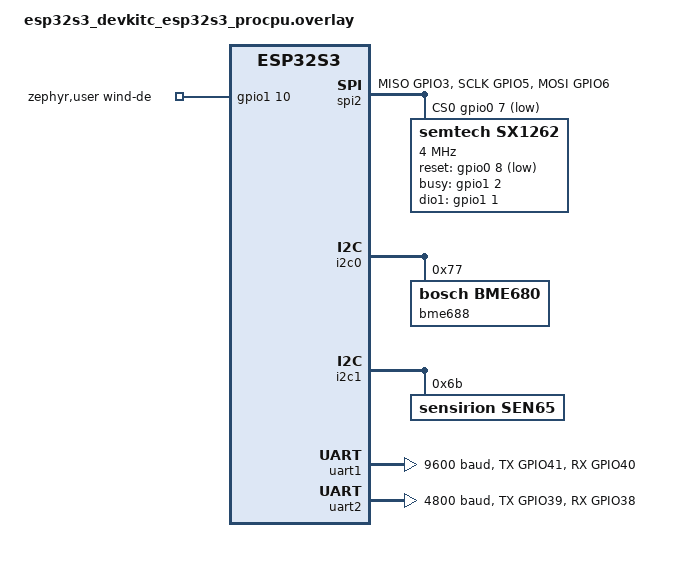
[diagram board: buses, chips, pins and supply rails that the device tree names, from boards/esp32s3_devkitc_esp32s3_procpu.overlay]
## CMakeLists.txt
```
cmake_minimum_required(VERSION 3.20.0)

find_package(Zephyr REQUIRED HINTS $ENV{ZEPHYR_BASE})

project(t3s3_lora VERSION 1.0.0 LANGUAGES C)

target_include_directories(app PRIVATE include)

# Seccion iterable en ROM para los recursos del servicio HTTP del portal
# (necesaria para los simbolos _http_resource_desc_portal_http_service_list_*).
zephyr_linker_sources(SECTIONS sections-rom.ld)

target_sources(app PRIVATE
    src/main.c
    src/wallclock.c
    src/nodewdt.c
    src/sensors/bm688.c
    src/sensors/ze15_co.c
    src/sensors/sen6x.c
    src/portal/portal.c
    src/portal/portal_html.c
    src/portal/captive_dns.c
    src/portal/http_routes.c
)

# ---------------------------------------------------------------------------
# Coexistencia LoRaWAN + WiFi: el soft-SE de loramac-node y el supplicant WPA
# interno del WiFi del ESP32 definen ambos los simbolos globales aes_encrypt y
# aes_decrypt (con firmas distintas) -> "multiple definition" al enlazar.
# Los de loramac son internos a esa libreria, asi que los renombramos SOLO en
# la libreria loramac-node (definicion + llamadas, todas en sus TUs). El
# supplicant conserva los suyos. Cero coste de tamano (a diferencia de activar
# el crypto mbedTLS, que ademas arrastraria EC/PK que no usa un AP WPA2-PSK).
#
# El target loramac-node lo crea Zephyr al procesar su arbol, DESPUES de este
# CMakeLists, por eso se difiere la llamada al final del directorio raiz.
# ---------------------------------------------------------------------------
cmake_language(DEFER DIRECTORY ${CMAKE_SOURCE_DIR} CALL
    target_compile_definitions loramac-node PRIVATE
    aes_encrypt=loramac_aes_encrypt
    aes_decrypt=loramac_aes_decrypt)
```

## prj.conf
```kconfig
# =========================
# PSRAM
# =========================
CONFIG_ESP_SPIRAM=y
CONFIG_SPIRAM_MODE_QUAD=y
CONFIG_SPIRAM_SPEED_40M=y
CONFIG_ESP_SPIRAM_MEMTEST=n
CONFIG_ESP_SPIRAM_HEAP_SIZE=65536

# =========================
# PRINTK via ROM UART (no inicializar driver UART de Zephyr)
# =========================
CONFIG_PRINTK=y
CONFIG_UART_CONSOLE=n
CONFIG_CONSOLE=n

# =========================
# LOG minimal: redirige LOG_* a printk() sin necesitar UART console
# =========================
CONFIG_LOG=y
CONFIG_LOG_MODE_MINIMAL=y

# =========================
# GPIO + SPI
# =========================
CONFIG_GPIO=y
CONFIG_SPI=y

# HWINFO: para derivar la DevEUI de la MAC del chip (hwinfo_get_device_id()).
CONFIG_HWINFO=y

# =========================
# UART (driver serial) para el ZE15-CO en UART1.
# La consola/printk NO depende de este driver (va por ROM UART/USB), pero
# CONFIG_UART_CONSOLE/CONSOLE siguen en n para no reasignar uart0.
# Se usa la API de polling (uart_poll_in/out), sin interrupciones.
# =========================
CONFIG_SERIAL=y

# =========================
# LORA + LORAWAN EU868
# =========================
CONFIG_LORA=y
CONFIG_LORA_SX126X=y
CONFIG_LORAWAN=y
CONFIG_LORAWAN_REGION_EU868=y

# =========================
# LORAWAN NVM: persiste el contexto MAC (DevNonce, claves de sesion) en flash.
# Sin esto el DevNonce se reinicia a 0 en cada arranque y el network server
# (anti-replay) descarta los Join-Request ya vistos -> "Rx 2 timeout" / -116.
# lorawan_start() llama internamente a settings_subsys_init() y restaura el
# contexto; usa la storage_partition por defecto del board (no requiere
# cambios en el flash layout).
# =========================
CONFIG_FLASH=y
CONFIG_FLASH_MAP=y
CONFIG_NVS=y
CONFIG_SETTINGS=y
CONFIG_LORAWAN_NVM_SETTINGS=y

# =========================
# STACK (LoRaWAN necesita mas que el default)
# =========================
CONFIG_MAIN_STACK_SIZE=4096
CONFIG_SYSTEM_WORKQUEUE_STACK_SIZE=4096

# =========================
# I2C + BM688 (sensor ambiental)
# CONFIG_I2C es auto-seleccionado por CONFIG_BME680 cuando el
# dispositivo esta en bus I2C, pero se declara explicitamente
# para claridad y compatibilidad.
# =========================
CONFIG_I2C=y
CONFIG_SENSOR=y
CONFIG_BME680=y

# =========================
# PORTAL CAUTIVO: WiFi SoftAP del ESP32-S3
# Modo AP-only: no necesitamos STA (LoRa no es WiFi), asi evitamos la
# coexistencia STA/AP (que exigiria una 2a instancia del nodo wifi en el
# devicetree -> NET_DEVICE_DT_INST_DEFINE(1)) y queda mas ligero.
# El heap de WiFi/NET se ubica en PSRAM para no asfixiar la SRAM interna.
# =========================
CONFIG_WIFI=y
CONFIG_WIFI_USAGE_MODE_AP=y
CONFIG_ESP32_WIFI_NET_ALLOC_SPIRAM=y

# NOTA (diagnostico, no toques nada por esto): el driver WiFi de Espressif
# reserva CADA trama a transmitir con k_malloc -- del heap del KERNEL, no de la
# PSRAM, pese a ESP32_WIFI_NET_ALLOC_SPIRAM (ver esp_heap_adapter.h, aqui manda
# CONFIG_ESP_WIFI_HEAP_SYSTEM). Si algun dia ves una rafaga de
#   E: memory allocation failed        (esp32s3/src/wifi/esp_wifi_adapter.c)
#   E: Failed to send packet           (drivers/wifi/esp32/src/esp_wifi_drv.c)
# es el WiFi sin heap, no LoRa: los uplinks siguen saliendo con SEND OK.
# Ocurrio una vez con los sensores I2C DESOLDADOS y se fue al volver a
# soldarlos, sin tocar el firmware. La sospecha es que el sistema es UNICORE
# ("W: Unicore bootloader") y los timeouts de I2C contra sensores ausentes
# estrangulaban al hilo del WiFi, que dejaba de drenar sus hasta 32 buffers TX
# dinamicos (CONFIG_ESP32_WIFI_DYNAMIC_TX_BUFFER_NUM) hasta agotar el heap.
# Subir CONFIG_HEAP_MEM_POOL_SIZE tapa el sintoma a costa de mucha DRAM; si
# vuelve a pasar CON los sensores sanos, esa es la palanca.
# NOTA crypto: se usa el crypto INTERNO del supplicant WPA (no mbedTLS). El
# AES interno del supplicant exporta aes_encrypt/aes_decrypt, igual que el
# soft-SE de loramac-node -> doble definicion al enlazar. En vez de arrastrar
# todo mbedTLS (EC/PK innecesarios para un AP WPA2-PSK), se renombran los dos
# simbolos AES de loramac (internos a esa lib) via CMakeLists. Ver CMakeLists.txt.

# =========================
# PORTAL CAUTIVO: stack de red + servidor DHCPv4
# NET_CONFIG_AUTO_INIT=n -> la IP del AP la fija portal.c manualmente.
# =========================
CONFIG_NETWORKING=y
CONFIG_NET_IPV4=y
# IPv6 DESACTIVADO a proposito. CRITICO para el portal: con IPv6 activo y el
# servicio HTTP con host=NULL, el HTTP server enlaza en IPv6 (::) "por
# preferencia" (http_server_core.c) y los sockets IPv6 de Zephyr NO son
# dual-stack -> el movil IPv4 recibe RST ("ERR_CONNECTION_REFUSED"). Sin IPv6,
# enlaza 0.0.0.0:80. El portal solo usa IPv4 (DHCP/DNS/HTTP). Ademas libera RAM.
CONFIG_NET_IPV6=n
CONFIG_NET_UDP=y
CONFIG_NET_TCP=y
CONFIG_NET_SOCKETS=y
CONFIG_NET_L2_ETHERNET=y
CONFIG_NET_L2_WIFI_MGMT=y
CONFIG_NET_MGMT=y
CONFIG_NET_MGMT_EVENT=y
CONFIG_NET_MGMT_EVENT_INFO=y
CONFIG_NET_MGMT_EVENT_STACK_SIZE=4096
CONFIG_NET_CONFIG_AUTO_INIT=n
CONFIG_NET_DHCPV4_SERVER=y
# CRITICO para el portal cautivo: el DHCP server anuncia 192.168.4.1 como
# servidor DNS (opcion 6). Sin esto, el sondeo de portal cautivo del movil
# (connectivitycheck/captive.apple/...) no tiene a quien resolver por WiFi ->
# el SO concluye "WiFi sin internet" (NO "portal cautivo") y enruta todo por
# datos moviles, por lo que la pagina no carga al conectarse. Con la opcion 6
# apuntando a nuestro responder DNS (captive_dns.c), el sondeo resuelve a
# 192.168.4.1, recibe el redirect 302 y el SO abre el portal SOLO, sin tener
# que apagar los datos del telefono.
CONFIG_NET_DHCPV4_SERVER_OPTION_DNS_ADDRESS="192.168.4.1"
# Pool DHCP: numero de IPs que reparte el AP (192.168.4.10 .. .19). Subido de 4
# (default) a 10 para no limitar el numero de dispositivos conectados a la vez.
# TOPE REAL: el SoftAP del ESP32-S3 admite como maximo 10 estaciones, y el driver
# de Zephyr trae .max_connection=5 HARDCODEADO (sin Kconfig) -> se parchea a 10 en
# zephyr/drivers/wifi/esp32/src/esp_wifi_drv.c. Ese parche vive en el arbol de
# Zephyr (NO en este repo); re-aplicar tras 'west update'. Ver docs/envio_sensores.md.
CONFIG_NET_DHCPV4_SERVER_ADDR_COUNT=10
# CRITICO: cada socket consume un net_context y una conexion. Con los defaults
# (CONTEXTS=6, MAX_CONN=4) el servidor DHCPv4 + DNS:53 + sockets internos del
# WiFi agotan el pool y al HTTP server NO le queda para el socket de ESCUCHA ->
# bind/listen falla -> :80 cerrado (SELFTEST connect = -1 errno 111). Con
# holgura entran listener + clientes + DNS + DHCP.
CONFIG_NET_MAX_CONTEXTS=16
CONFIG_NET_MAX_CONN=16
CONFIG_NET_IF_MAX_IPV4_COUNT=2
# Buffers de red: subidos a 12 para dar holgura con mas estaciones/clientes
# concurrentes (antes 8, pensado para un solo movil). Si aparecen
# 'memory allocation failed' en coexistencia con LoRa, bajar de nuevo.
CONFIG_NET_PKT_RX_COUNT=12
CONFIG_NET_PKT_TX_COUNT=12

# =========================
# PORTAL CAUTIVO: servidor HTTP (dashboard + /api/sensors)
# MAX_CLIENTS=4: permite que varios moviles carguen el dashboard a la vez (cada
# uno abre pocas conexiones cortas: HTML + fetch + imagen). Debe ser >= el
# _concurrent del HTTP_SERVICE_DEFINE (=4). Mas clientes = mas RAM.
# =========================
CONFIG_HTTP_SERVER=y
CONFIG_HTTP_SERVER_MAX_CLIENTS=4
CONFIG_NET_SOCKETS_SERVICE_STACK_SIZE=4096
# Presupuesto de descriptores y de poll(). CRITICO: con los defaults (tabla de
# fds = 8, poll = 3) el socket de escucha del HTTP server no consigue fd/poll
# y NO escucha -> el movil recibe RST ("conexion rechazada"). El servidor
# necesita: 1 socket de escucha + MAX_CLIENTS + el DNS:53 + sockets internos
# de red/WiFi/LoRa. Damos holgura (el sample http_server hace lo mismo).
CONFIG_ZVFS_OPEN_MAX=24
CONFIG_ZVFS_POLL_MAX=16
# CRITICO (causa del :80 cerrado): http_server_init() crea un eventfd y si
# falla ABORTA antes de bindear -> no hay listener. Con EVENTFD_MAX=1 el unico
# eventfd lo toma el net sockets service al arrancar y al HTTP server no le
# queda -> zvfs_eventfd() falla. Damos varios (server + sockets service + ...).
CONFIG_ZVFS_EVENTFD_MAX=4
# Log del HTTP server encendido para ver fallos de bind/listen si recurren.
CONFIG_NET_HTTP_SERVER_LOG_LEVEL_DBG=y
```

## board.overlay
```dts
/*
 * T3-S3 V1.3 — LilyGO ESP32-S3FH4R2
 * Flash: 4 MB embedded (XMC)
 * PSRAM: 2 MB embedded AP_3v3 (QPI, same MSPI bus as flash)
 *
 * Base board (esp32s3_devkitc) uses esp32s3_wroom_n8.dtsi which has
 * 8 MB flash and no PSRAM. Both overrides below are required.
 */

/* Correct flash size: 4 MB, not 8 MB */
&flash0 {
	reg = <0x0 DT_SIZE_M(4)>;
};

/* Declare the 2 MB embedded PSRAM so Zephyr initialises the MSPI bus
 * correctly. Without this the bus hangs after "spi_flash: flash io: dio". */
&psram0 {
	size = <DT_SIZE_M(2)>;
};
```

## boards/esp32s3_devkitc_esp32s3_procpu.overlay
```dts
/* =========================
 * T3 S3 V1.3
 * ========================= */
#include <zephyr/dt-bindings/pinctrl/esp-pinctrl-common.h>
#include <zephyr/dt-bindings/pinctrl/esp32s3-pinctrl.h>
#include <zephyr/dt-bindings/pinctrl/esp32s3-gpio-sigmap.h>
#include <zephyr/dt-bindings/lora/sx126x.h>

&flash0 {
    reg = <0x0 DT_SIZE_M(4)>;
};

&psram0 {
    size = <DT_SIZE_M(2)>;
};

/* =========================
 * PINCTRL: pines reales del T3-S3 V1.3
 * DevKit default: MISO=GPIO13, SCLK=GPIO12, MOSI=GPIO11
 * T3-S3 real:     MISO=GPIO3,  SCLK=GPIO5,  MOSI=GPIO6
 * ========================= */
&pinctrl {
    spim2_default: spim2_default {
        group1 {
            pinmux = <SPIM2_MISO_GPIO3>,
                     <SPIM2_SCLK_GPIO5>;
        };
        group2 {
            pinmux = <SPIM2_MOSI_GPIO6>;
            output-low;
        };
    };
};

/* =========================
 * SPI2 + SX1262
 * ========================= */
&spi2 {
    status = "okay";
    pinctrl-0 = <&spim2_default>;
    pinctrl-names = "default";

    cs-gpios = <&gpio0 7 GPIO_ACTIVE_LOW>;

    sx1262: lora@0 {
        compatible = "semtech,sx1262";
        reg = <0>;

        spi-max-frequency = <4000000>;

        reset-gpios = <&gpio0 8  GPIO_ACTIVE_LOW>;
        busy-gpios  = <&gpio1 2  GPIO_ACTIVE_HIGH>;  /* GPIO34 = gpio1 pin 2 */
        dio1-gpios  = <&gpio1 1  GPIO_ACTIVE_HIGH>;  /* GPIO33 = gpio1 pin 1 */

        /* DIO2 controla el switch RF TX/RX */
        dio2-tx-enable;

        /* TCXO 32MHz alimentado por DIO3 a 1.8V */
        dio3-tcxo-voltage = <SX126X_DIO3_TCXO_1V8>;
        tcxo-power-startup-delay-ms = <5>;
    };
};

/* =========================
 * UART0 / GPIO43-44: ya NO se reasignan a I2C.
 * El BME688 se movio a I2C0 (GPIO47/48), por lo que UART0 vuelve a su
 * estado por defecto y los pines 43/44 quedan libres (UART hardware o
 * conector QWIIC). El printk sigue via ROM UART / USB (no depende del
 * driver UART0 de Zephyr).
 * ========================= */

/* =========================
 * PINCTRL: I2C0 en GPIO47 (SDA) y GPIO48 (SCL)
 * Pines del header lateral (JP1), libres y sin funcion de strapping.
 * Sobrescriben el i2c0_default del board (que usaba GPIO1/GPIO2,
 * ocupados por Battery ADC y SD MISO).
 * OJO HARDWARE: requieren pull-ups EXTERNOS de 4.7k a 3V3
 * (el conector QWIIC los traia integrados; el header pelado no).
 * ========================= */
&pinctrl {
    i2c0_bm688: i2c0_bm688 {
        group1 {
            pinmux = <I2C0_SDA_GPIO47>,
                     <I2C0_SCL_GPIO48>;
            bias-pull-up;
            drive-open-drain;
            output-high;
        };
    };
};

/* =========================
 * I2C0 + BM688
 * SD0 -> VCC  => direccion I2C = 0x77  (confirmado por i2c0_scan: ACK 0x77)
 * CS  -> VCC  => modo I2C habilitado (obligatorio)
 * ========================= */
&i2c0 {
    status = "okay";
    pinctrl-0 = <&i2c0_bm688>;
    pinctrl-names = "default";
    /* clock-frequency se hereda del board (100kHz). El driver i2c_esp32
       SOLO admite 100k/400k/1M; un valor distinto mapea a 0 y rompe el init. */

    bme688: bme688@77 {
        compatible = "bosch,bme680";
        reg = <0x77>;
    };
};

/* =========================
 * PINCTRL: I2C1 en GPIO15 (SDA) y GPIO16 (SCL) para el SEN65.
 * Bus SEPARADO del I2C0/BME688 a peticion: el SEN65 NO comparte pines con el
 * BME688. El board define un i2c1_default (GPIO4/5); este pinctrl lo sobrescribe
 * a GPIO15/16 (libres en este proyecto, sin strapping).
 * OJO HARDWARE: pines de header pelado -> requieren pull-ups EXTERNOS de 4.7k a
 * 3V3 en SDA y SCL (no hay QWIIC que los traiga integrados).
 * ========================= */
&pinctrl {
    i2c1_sen65: i2c1_sen65 {
        group1 {
            pinmux = <I2C1_SDA_GPIO15>,
                     <I2C1_SCL_GPIO16>;
            bias-pull-up;
            drive-open-drain;
            output-high;
        };
    };
};

/* =========================
 * I2C1 + SEN65 (Sensirion) — nodo de calidad de aire: PM1/2.5/4/10, RH&T, VOC, NOx.
 * Bus propio (I2C1), independiente del BME688:
 *   - SDA=GPIO15  SCL=GPIO16  (100kHz, maximo del SEN6x en standard mode)
 *   - Direccion SEN65 = 0x6B (7-bit)
 *
 * OJO HARDWARE: el SEN65 se alimenta a 3.3V (3.15-3.45V) y tiene ventilador +
 * laser; pico de corriente ~200mA. Asegurar que el regulador 3V3 lo soporta
 * (o alimentarlo de una fuente 3V3 con GND comun). Pinout del conector (6 pines):
 *   1 VDD(3V3)  2 GND  3 SDA(->GPIO15)  4 SCL(->GPIO16)  5 GND  6 VDD.
 * ========================= */
&i2c1 {
    status = "okay";
    pinctrl-0 = <&i2c1_sen65>;
    pinctrl-names = "default";
    /* clock-frequency se hereda (100kHz). El driver i2c_esp32 solo admite
       100k/400k/1M; otro valor mapea a 0 y rompe el init (igual que I2C0). */

    sen65: sen65@6b {
        compatible = "sensirion,sen65";
        reg = <0x6b>;
    };
};

/* =========================
 * PINCTRL: UART1 para ZE15-CO en GPIO41 (TX) y GPIO40 (RX)
 * Pines libres del header lateral, sin funcion de strapping.
 * NO se usan 43/44 (UART0/ROM = printk) ni 47/48 (I2C0/BM688).
 * ========================= */
&pinctrl {
    uart1_co: uart1_co {
        group1 {
            pinmux = <UART1_TX_GPIO41>;
            output-high;
        };
        group2 {
            pinmux = <UART1_RX_GPIO40>;
            bias-pull-up;
        };
    };
};

/* =========================
 * UART1 + ZE15-CO (monoxido de carbono)
 * 9600 8N1 (defaults de Zephyr), modo Q&A.
 * Alimentacion del sensor: 5~12V DC (PIN15), NO 3.3V. UART es TTL 3V.
 * Conexion: ESP32 TX(GPIO41) -> sensor RXD(PIN7);
 *           ESP32 RX(GPIO40) <- sensor TXD(PIN8).
 * ========================= */
&uart1 {
    status = "okay";
    current-speed = <9600>;
    pinctrl-0 = <&uart1_co>;
    pinctrl-names = "default";
};

/* =========================
 * PINCTRL: UART2 para el ANEMOMETRO (RS485/Modbus) en GPIO39 (TX) y GPIO38 (RX)
 * Pines libres del header derecho, sin funcion de strapping.
 * NO se usan 43/44 (UART0/ROM = printk), 40/41 (UART1/ZE15-CO) ni 47/48 (I2C0).
 * El TX del ESP32 va al DI del adaptador RS485<->TTL; el RX al RO.
 * ========================= */
&pinctrl {
    uart2_wind: uart2_wind {
        group1 {
            pinmux = <UART2_TX_GPIO39>;
            output-high;
        };
        group2 {
            pinmux = <UART2_RX_GPIO38>;
            bias-pull-up;
        };
    };
};

/* =========================
 * UART2 + ANEMOMETRO (velocidad + direccion de viento) via RS485/Modbus RTU
 * 4800 8N1 por defecto (AJUSTABLE: muchos vienen a 9600). Half-duplex: el
 * driver conmuta DE/RE (GPIO42) alrededor del TX; si el adaptador RS485<->TTL
 * es de conmutacion automatica, dejar wind-de-gpios sin cablear.
 *
 * OJO HARDWARE: sensor a 5~24V DC (rojo +, negro GND); salida RS485 A(amarillo)
 * y B(verde) a los bornes A/B del adaptador. Masa comun con el ESP32. La logica
 * TTL del adaptador es 3.3V (usar un modulo alimentado a 3.3V, no a 5V, para no
 * meter 5V en el RX del ESP32).
 * ========================= */
&uart2 {
    status = "okay";
    current-speed = <4800>;
    pinctrl-0 = <&uart2_wind>;
    pinctrl-names = "default";
};

/* =========================
 * ALIAS + nodo zephyr,user (GPIO de direccion RS485)
 * ========================= */
&{/} {
    aliases {
        lora0       = &sx1262;
        bme688-sensor = &bme688;
        co-uart     = &uart1;
        sen65-sensor = &sen65;
        wind-uart   = &uart2;
    };

    zephyr,user {
        /* DE+RE del adaptador RS485 en GPIO42 (= gpio1 pin 10, 42-32=10).
           OPCIONAL: borrar esta linea si el adaptador conmuta solo. */
        wind-de-gpios = <&gpio1 10 GPIO_ACTIVE_HIGH>;
    };
};
```

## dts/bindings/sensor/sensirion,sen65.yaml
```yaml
# SPDX-License-Identifier: Apache-2.0
#
# Binding minimo para el nodo de calidad de aire Sensirion SEN65 en I2C.
# No existe driver nativo de Zephyr para la familia SEN6x en este arbol, por lo
# que la logica vive en la capa de aplicacion (src/sensors/sen6x.c). Este binding
# solo aporta el 'compatible' para que el nodo del overlay no genere warning y
# para poder resolver bus+direccion con I2C_DT_SPEC_GET().
#
# Zephyr anade automaticamente <APPLICATION_SOURCE_DIR>/dts/bindings a la ruta
# de busqueda de bindings; no requiere cambios en CMake.

description: Sensirion SEN65 air quality sensor node (PM, RH&T, VOC, NOx) over I2C

compatible: "sensirion,sen65"

include: [sensor-device.yaml, i2c-device.yaml]
```

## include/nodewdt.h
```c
#ifndef NODEWDT_H_
#define NODEWDT_H_

/*
 * Perro guardian del nodo.
 *
 * Hasta ahora no habia NINGUNO: si el lazo principal se quedaba bloqueado —en
 * un mutex, en un semaforo sin liberar, en un bucle— el nodo se quedaba mudo
 * indefinidamente sirviendo aun el portal WiFi, y nadie se enteraba. En los
 * logs del 2026-07-29 hubo 10 h de silencio compatibles con ese escenario.
 *
 * Diseño en dos niveles, porque un solo umbral no sirve:
 *
 *   1. El HILO SUPERVISOR alimenta el WDT hardware cada NODEWDT_FEED_S. Si el
 *      sistema entero se cuelga (kernel muerto, interrupciones desactivadas,
 *      inversion de prioridad que mata a todo el mundo), el supervisor deja de
 *      correr, nadie alimenta y el hardware reinicia en segundos.
 *
 *   2. El supervisor vigila ADEMAS que el lazo principal AVANCE. Si el
 *      contador de progreso no cambia en NODEWDT_STALL_S, deja de alimentar
 *      a proposito y fuerza el reinicio.
 *
 * ¿Por que el umbral de estancamiento es tan largo (30 min)? Porque el lazo
 * principal se bloquea de forma LEGITIMA durante mucho tiempo: lorawan_send()
 * hace k_sem_take(..., K_FOREVER) esperando a que el MAC termine, y un uplink
 * CONFIRMED a SF12 puede reintentar varias veces respetando el duty-cycle del
 * 1% — minutos. Un watchdog agresivo reiniciaria el nodo en mitad de un envio
 * valido y provocaria bucles de reinicio, que es PEOR que no tener watchdog.
 * (La solucion de fondo es sacar la radio a su propio hilo — Fase 3.)
 *
 * Un reinicio por watchdog NO es silencioso: hwinfo lo reporta como
 * RESET_WATCHDOG y el uplink de arranque (FPORT_DIAG) lo manda al servidor.
 */

/* Cada cuantos segundos alimenta el supervisor al WDT hardware. */
#define NODEWDT_FEED_S    2

/*
 * Timeout del WDT hardware, en ms segun la API de Zephyr.
 *
 * OJO: el driver del ESP32 pasa window.max DIRECTAMENTE como cuenta de ticks
 * del MWDT (wdt_esp32.c:119 -> wdt_hal_config_stage, documentado en el HAL
 * como "Number of WDT ticks"), y con su prescaler (40000) sobre el APB de
 * 80 MHz un tick son 500 us. Pero configura DOS etapas con el mismo valor
 * (interrupcion en la 0, reset en la 1) y las etapas del MWDT son
 * acumulativas, asi que los dos factores de 2 se cancelan y el reset acaba
 * cayendo cerca de window.max milisegundos.
 *
 * Ese razonamiento no lo he podido medir en hardware, asi que el valor se
 * elige a proposito de forma que un error de x2 en cualquier sentido de igual:
 * 20 s nominales quedan entre 10 y 40 s reales, y CUALQUIERA de esos valores
 * es enorme frente a los 2 s de alimentacion y minusculo frente a los 30 min
 * del umbral de estancamiento. La funcion no depende de acertar el numero.
 */
#define NODEWDT_HW_TIMEOUT_MS  20000

/*
 * Tiempo sin que el lazo principal avance antes de forzar el reinicio.
 *
 * 45 min sale de acotar el peor bloqueo LEGITIMO. Un uplink CONFIRMED sin ACK
 * reintenta hasta 8 veces respetando el duty-cycle del 1%: con LoRaMac bajando
 * el DR cada 2 intentos son ~10 min, y si se quedara clavado en SF12, ~22 min.
 * El bucle de rejoin encadena mas envios bloqueantes, pero marca vida en cada
 * vuelta (esta progresando, no colgado), asi que no cuenta.
 *
 * Un FALSO reinicio no seria solo una molestia: falsearia el diagnostico que
 * monta el FPORT_DIAG. Ver "RESET CAUSE: WATCHDOG" cuando en realidad hubo un
 * envio largo y valido mandaria a buscar un cuelgue inexistente. De ahi el
 * margen de 2x sobre el peor caso pesimista.
 *
 * Sigue siendo util: el silencio que hay que cazar duro 10 HORAS.
 */
#define NODEWDT_STALL_S   (45 * 60)

/*
 * Arranca el WDT hardware y el hilo supervisor. Llamar UNA vez, antes de
 * entrar en el lazo principal.
 *
 * Devuelve 0 si el perro guardian queda activo, o <0 si no se pudo armar. Un
 * fallo aqui NO debe abortar el arranque: es mejor un nodo sin watchdog que un
 * nodo que no arranca; pero hay que reportarlo.
 */
int nodewdt_start(void);

/*
 * "Sigo vivo": la llama el lazo principal en cada vuelta. Es lo unico que
 * impide que el supervisor deje de alimentar al perro.
 */
void nodewdt_alive(void);

#endif /* NODEWDT_H_ */
```

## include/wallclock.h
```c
#ifndef WALLCLOCK_H_
#define WALLCLOCK_H_

#include <stdint.h>
#include <stdbool.h>
#include <stddef.h>

/*
 * Reloj de pared del nodo: hora LOCAL derivada de la hora de red LoRaWAN.
 *
 * El nodo no tiene RTC con pila ni acceso a NTP (el SoftAP no da salida a
 * Internet). La unica fuente de hora es el comando MAC DeviceTimeReq de
 * LoRaWAN, que el network server contesta con la epoca GPS.
 *
 * Se usa para apagar el SoftAP en la franja nocturna (ver AP_OFF_* en main.c).
 * Precision necesaria: minutos. No sirve para sellar eventos con exactitud.
 */

/* Segundos entre la epoca Unix (1970-01-01) y la epoca GPS (1980-01-06).
   lorawan_device_time_get() devuelve epoca GPS; sumando esto se obtiene Unix.
   Se ignoran los 18 s de segundos intercalares GPS-UTC: son irrelevantes
   frente a una frontera horaria, y anadirlos exigiria mantener una tabla. */
#define WALLCLOCK_GPS_UNIX_OFFSET  315964800U

/* Hora local descompuesta. */
struct wallclock_tm {
	int      year;   /* p.ej. 2026        */
	uint8_t  month;  /* 1-12              */
	uint8_t  day;    /* 1-31              */
	uint8_t  hour;   /* 0-23, hora LOCAL  */
	uint8_t  min;    /* 0-59              */
	bool     dst;    /* true = horario de verano (UTC+2) */
};

/*
 * Convierte una epoca GPS (la que entrega lorawan_device_time_get()) a hora
 * local europea y la descompone en 'out'.
 *
 * Aplica las reglas de la UE: UTC+1 en invierno, UTC+2 desde el ultimo domingo
 * de marzo a las 01:00 UTC hasta el ultimo domingo de octubre a las 01:00 UTC.
 * Verificado contra la base de datos tz (Europe/Madrid) sobre 3 anios de
 * muestreo horario, incluidos ambos bordes de cambio.
 *
 * Devuelve false si gps_s es 0 (sin sincronizar).
 */
bool wallclock_from_gps(uint32_t gps_s, struct wallclock_tm *out);

#endif /* WALLCLOCK_H_ */
```

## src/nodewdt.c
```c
/*
 * SPDX-License-Identifier: Apache-2.0
 *
 * Perro guardian del nodo: WDT hardware + supervision del avance del lazo
 * principal. Ver include/nodewdt.h para el razonamiento del diseño.
 */

#include "nodewdt.h"

#include <zephyr/kernel.h>
#include <zephyr/device.h>
#include <zephyr/drivers/watchdog.h>
#include <zephyr/sys/atomic.h>
#include <zephyr/sys/printk.h>

#define NODEWDT_STACK  1536
/*
 * Prioridad COOPERATIVA (negativa): el supervisor tiene que poder expulsar al
 * hilo main (prioridad 0, expulsable) aunque este girando sin ceder la CPU.
 * Con una prioridad expulsable mas baja nunca llegaria a ejecutarse en ese
 * caso, que es justo uno de los que debe detectar.
 */
#define NODEWDT_PRIO   -1

static const struct device *wdt_dev;
static int                  wdt_channel;
static atomic_t             progress;

void nodewdt_alive(void)
{
	atomic_inc(&progress);
}

static void nodewdt_thread(void *a, void *b, void *c)
{
	ARG_UNUSED(a); ARG_UNUSED(b); ARG_UNUSED(c);

	atomic_val_t last_seen   = atomic_get(&progress);
	int64_t      last_change = k_uptime_get();

	while (1) {
		const atomic_val_t now_seen = atomic_get(&progress);

		if (now_seen != last_seen) {
			last_seen   = now_seen;
			last_change = k_uptime_get();
		}

		const int64_t stalled_s = (k_uptime_get() - last_change) / 1000;

		if (stalled_s >= NODEWDT_STALL_S) {
			/*
			 * Se deja de alimentar A PROPOSITO. No se llama a
			 * sys_reboot() porque el estancamiento puede venir de un
			 * bloqueo que tambien afecte al camino de reinicio por
			 * software; dejar que muerda el hardware es la via que no
			 * depende de que el kernel siga sano. Ademas asi la causa
			 * queda registrada como RESET_WATCHDOG y sale por
			 * FPORT_DIAG en el siguiente arranque.
			 */
			printk("WDT: el lazo principal lleva %lld s sin avanzar "
			       "-> se deja de alimentar, reset en breve\n",
			       stalled_s);
			return;
		}

		(void)wdt_feed(wdt_dev, wdt_channel);
		k_sleep(K_SECONDS(NODEWDT_FEED_S));
	}
}

K_THREAD_STACK_DEFINE(nodewdt_stack, NODEWDT_STACK);
static struct k_thread nodewdt_tcb;

int nodewdt_start(void)
{
	wdt_dev = DEVICE_DT_GET(DT_ALIAS(watchdog0));
	if (!device_is_ready(wdt_dev)) {
		printk("WDT: dispositivo no listo\n");
		return -ENODEV;
	}

	/* El driver del ESP32 exige window.min == 0 y window.max != 0. */
	const struct wdt_timeout_cfg cfg = {
		.window   = { .min = 0U, .max = NODEWDT_HW_TIMEOUT_MS },
		.callback = NULL,   /* nada de printk desde ISR con el sistema colgado */
		.flags    = WDT_FLAG_RESET_SOC,
	};

	wdt_channel = wdt_install_timeout(wdt_dev, &cfg);
	if (wdt_channel < 0) {
		printk("WDT: install_timeout err %d\n", wdt_channel);
		return wdt_channel;
	}

	int ret = wdt_setup(wdt_dev, 0);

	if (ret < 0) {
		printk("WDT: setup err %d\n", ret);
		return ret;
	}

	k_thread_create(&nodewdt_tcb, nodewdt_stack, NODEWDT_STACK,
			nodewdt_thread, NULL, NULL, NULL,
			NODEWDT_PRIO, 0, K_NO_WAIT);
	k_thread_name_set(&nodewdt_tcb, "nodewdt");

	printk("WDT armado: hw %d ms, alimentado cada %d s, "
	       "estancamiento del lazo %d s\n",
	       NODEWDT_HW_TIMEOUT_MS, NODEWDT_FEED_S, NODEWDT_STALL_S);
	return 0;
}
```

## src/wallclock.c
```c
/*
 * SPDX-License-Identifier: Apache-2.0
 *
 * Hora local del nodo a partir de la hora de red LoRaWAN (epoca GPS).
 *
 * Los algoritmos de calendario son los de Howard Hinnant ("chrono-Compatible
 * Low-Level Date Algorithms"), de dominio publico: aritmetica entera pura, sin
 * bucles ni tablas y validos para cualquier anio. Se prefieren a time.h porque
 * la libc de Zephyr no trae zonas horarias y porque asi el calculo es
 * verificable byte a byte contra la base de datos tz.
 */

#include "wallclock.h"

/* Dias desde 1970-01-01 para una fecha civil (proleptic Gregorian). */
static int64_t days_from_civil(int y, unsigned int m, unsigned int d)
{
	y -= (m <= 2);

	const int64_t      era = (y >= 0 ? y : y - 399) / 400;
	const unsigned int yoe = (unsigned int)(y - era * 400);          /* 0..399   */
	const unsigned int doy = (153U * (m + (m > 2 ? -3U : 9U)) + 2U) / 5U + d - 1U;
	const unsigned int doe = yoe * 365U + yoe / 4U - yoe / 100U + doy;

	return era * 146097 + (int64_t)doe - 719468;
}

/* Inversa: fecha civil a partir de los dias desde 1970-01-01. */
static void civil_from_days(int64_t z, int *y, unsigned int *m, unsigned int *d)
{
	z += 719468;

	const int64_t      era = (z >= 0 ? z : z - 146096) / 146097;
	const unsigned int doe = (unsigned int)(z - era * 146097);       /* 0..146096 */
	const unsigned int yoe = (doe - doe / 1460U + doe / 36524U -
				  doe / 146096U) / 365U;                 /* 0..399    */
	const int64_t      yy  = (int64_t)yoe + era * 400;
	const unsigned int doy = doe - (365U * yoe + yoe / 4U - yoe / 100U);
	const unsigned int mp  = (5U * doy + 2U) / 153U;                 /* 0..11     */
	const unsigned int dd  = doy - (153U * mp + 2U) / 5U + 1U;       /* 1..31     */
	const unsigned int mm  = mp + (mp < 10U ? 3U : -9U);             /* 1..12     */

	*y = (int)(yy + (mm <= 2U));
	*m = mm;
	*d = dd;
}

/* Dia del mes del ultimo domingo. Solo se llama para marzo y octubre, que
   tienen 31 dias, asi que el ultimo dia es siempre el 31. */
static unsigned int last_sunday_of_31day_month(int y, unsigned int m)
{
	const int64_t days = days_from_civil(y, m, 31);
	/* 1970-01-01 fue jueves; con dias >= 0, (dias + 4) % 7 da 0 = domingo. */
	const int     dow  = (int)(((days % 7) + 11) % 7);

	return 31U - (unsigned int)dow;
}

/*
 * Regla de la UE (Directiva 2000/84/CE): el horario de verano va del ultimo
 * domingo de marzo a las 01:00 UTC al ultimo domingo de octubre a las 01:00
 * UTC. El cambio se define en UTC, igual en todos los husos de la UE, lo que
 * evita tener que razonar sobre la hora local durante la propia transicion.
 */
static bool eu_dst_active(int64_t utc)
{
	int          y;
	unsigned int m, d;

	/* Division con redondeo hacia abajo: utc siempre es > 0 aqui (posterior
	   a 1980), asi que la division entera basta. */
	civil_from_days(utc / 86400, &y, &m, &d);

	if (m < 3U || m > 10U) {
		return false;
	}
	if (m > 3U && m < 10U) {
		return true;
	}

	/* Marzo u octubre: hay que comparar con el instante exacto del cambio. */
	const int64_t change = days_from_civil(y, m, last_sunday_of_31day_month(y, m))
			       * 86400 + 3600;

	return (m == 3U) ? (utc >= change) : (utc < change);
}

bool wallclock_from_gps(uint32_t gps_s, struct wallclock_tm *out)
{
	if (gps_s == 0U || out == NULL) {
		return false;
	}

	const int64_t utc   = (int64_t)gps_s + WALLCLOCK_GPS_UNIX_OFFSET;
	const bool    dst   = eu_dst_active(utc);
	const int64_t local = utc + (dst ? 7200 : 3600);

	int          y;
	unsigned int m, d;

	civil_from_days(local / 86400, &y, &m, &d);

	const int64_t sod = local % 86400;   /* segundos del dia */

	out->year  = y;
	out->month = (uint8_t)m;
	out->day   = (uint8_t)d;
	out->hour  = (uint8_t)(sod / 3600);
	out->min   = (uint8_t)((sod % 3600) / 60);
	out->dst   = dst;

	return true;
}
```
